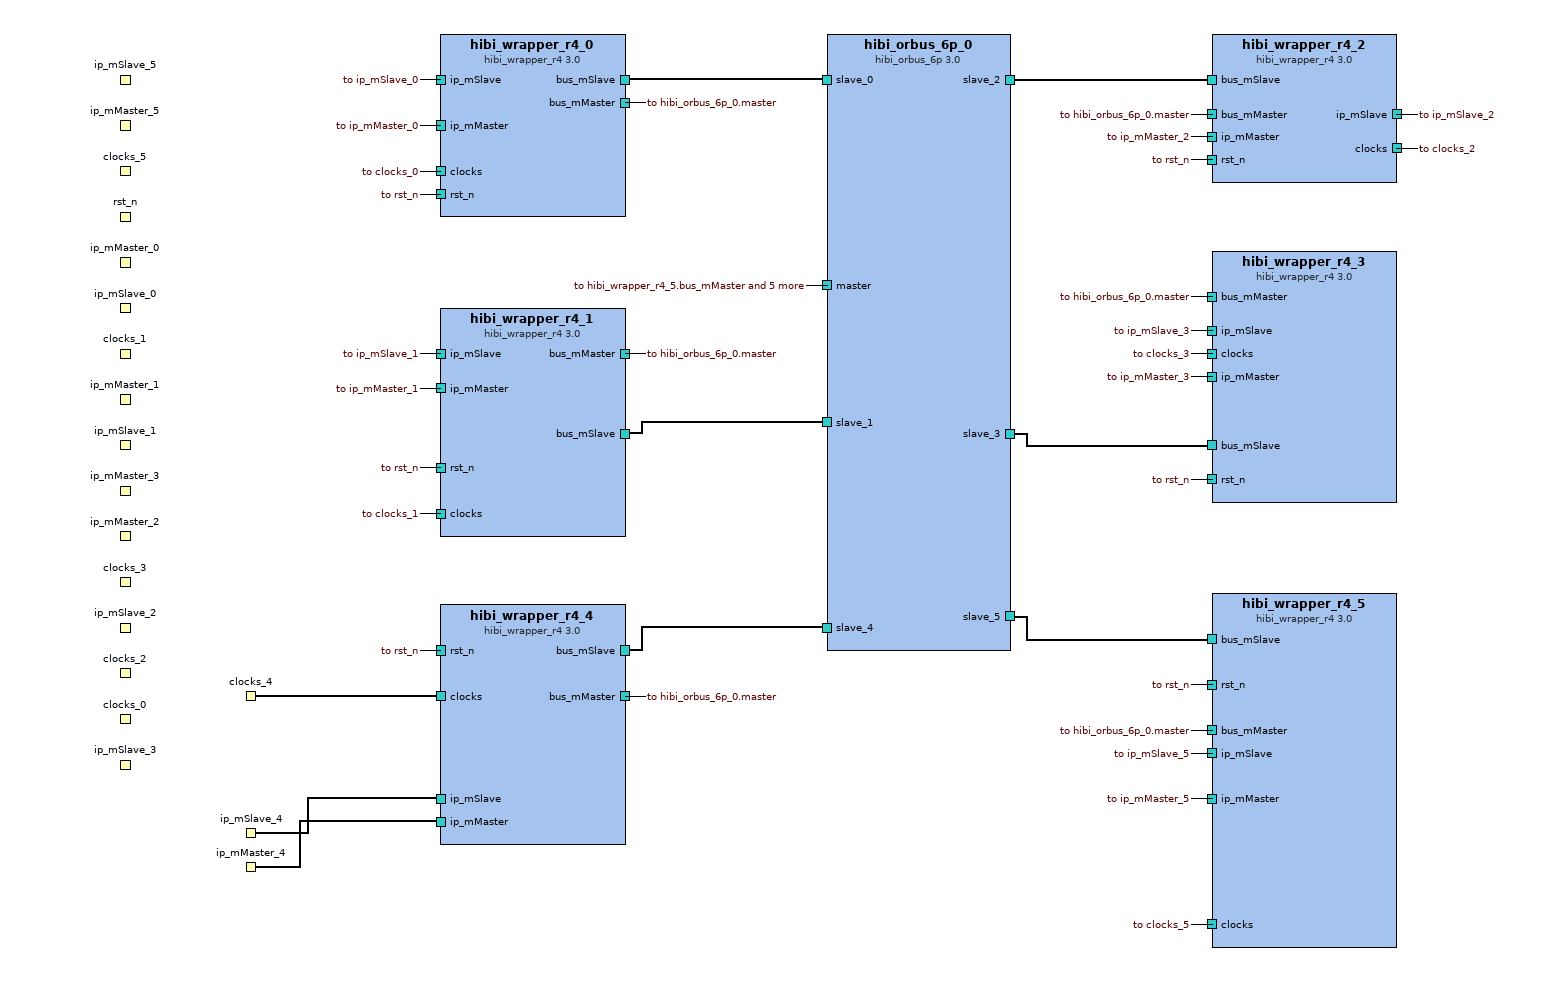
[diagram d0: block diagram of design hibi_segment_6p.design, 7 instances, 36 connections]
<?xml version="1.0" encoding="UTF-8"?>
<!-- Created by Kactus2 - Open source IP-Xact toolset -->
<!-- http://sourceforge.net/projects/kactus2/ -->
<!-- Date: 14.01.2013 -->
<!-- Time: 12:21:23 -->
<spirit:design xmlns:kactus2="http://funbase.cs.tut.fi/" xmlns:spirit="http://www.spiritconsortium.org/XMLSchema/SPIRIT/1.5" xmlns:xsi="http://www.w3.org/2001/XMLSchema-instance" xsi:schemaLocation="http://www.spiritconsortium.org/XMLSchema/SPIRIT/1.5 http://www.spiritconsortium.org/XMLSchema/SPIRIT/1.5/index.xsd"><spirit:vendor>TUT</spirit:vendor><spirit:library>ip.hwp.communication</spirit:library>
 <spirit:name>hibi_segment_6p.design</spirit:name><spirit:version>3.0</spirit:version><spirit:componentInstances>
 <spirit:componentInstance><spirit:instanceName>hibi_wrapper_r4_2</spirit:instanceName>
  <spirit:componentRef spirit:vendor="TUT" spirit:library="ip.hwp.communication" spirit:name="hibi_wrapper_r4" spirit:version="3.0"/>
  <spirit:configurableElementValues><spirit:configurableElementValue spirit:referenceId="addr_g">ip_mSlave_2_addr_start</spirit:configurableElementValue><spirit:configurableElementValue spirit:referenceId="addr_limit_g">ip_mSlave_2_addr_end</spirit:configurableElementValue><spirit:configurableElementValue spirit:referenceId="n_agents_g">6</spirit:configurableElementValue><spirit:configurableElementValue spirit:referenceId="prior_g">3</spirit:configurableElementValue>
  </spirit:configurableElementValues>
 </spirit:componentInstance>
 <spirit:componentInstance><spirit:instanceName>hibi_wrapper_r4_3</spirit:instanceName>
  <spirit:componentRef spirit:vendor="TUT" spirit:library="ip.hwp.communication" spirit:name="hibi_wrapper_r4" spirit:version="3.0"/>
  <spirit:configurableElementValues><spirit:configurableElementValue spirit:referenceId="addr_g">ip_mSlave_3_addr_start</spirit:configurableElementValue><spirit:configurableElementValue spirit:referenceId="addr_limit_g">ip_mSlave_3_addr_end</spirit:configurableElementValue><spirit:configurableElementValue spirit:referenceId="n_agents_g">6</spirit:configurableElementValue><spirit:configurableElementValue spirit:referenceId="prior_g">4</spirit:configurableElementValue>
  </spirit:configurableElementValues>
 </spirit:componentInstance>
 <spirit:componentInstance><spirit:instanceName>hibi_wrapper_r4_5</spirit:instanceName>
  <spirit:componentRef spirit:vendor="TUT" spirit:library="ip.hwp.communication" spirit:name="hibi_wrapper_r4" spirit:version="3.0"/>
  <spirit:configurableElementValues><spirit:configurableElementValue spirit:referenceId="addr_g">ip_mSlave_5_addr_start</spirit:configurableElementValue><spirit:configurableElementValue spirit:referenceId="addr_limit_g">ip_mSlave_5_addr_end</spirit:configurableElementValue><spirit:configurableElementValue spirit:referenceId="n_agents_g">6</spirit:configurableElementValue><spirit:configurableElementValue spirit:referenceId="prior_g">6</spirit:configurableElementValue>
  </spirit:configurableElementValues>
 </spirit:componentInstance>
 <spirit:componentInstance><spirit:instanceName>hibi_orbus_6p_0</spirit:instanceName><spirit:componentRef spirit:vendor="TUT" spirit:library="ip.hwp.communication" spirit:name="hibi_orbus_6p" spirit:version="3.0"/></spirit:componentInstance>
 <spirit:componentInstance><spirit:instanceName>hibi_wrapper_r4_1</spirit:instanceName>
  <spirit:componentRef spirit:vendor="TUT" spirit:library="ip.hwp.communication" spirit:name="hibi_wrapper_r4" spirit:version="3.0"/>
  <spirit:configurableElementValues><spirit:configurableElementValue spirit:referenceId="addr_g">ip_mSlave_1_addr_start</spirit:configurableElementValue><spirit:configurableElementValue spirit:referenceId="addr_limit_g">ip_mSlave_1_addr_end</spirit:configurableElementValue><spirit:configurableElementValue spirit:referenceId="n_agents_g">6</spirit:configurableElementValue><spirit:configurableElementValue spirit:referenceId="prior_g">2</spirit:configurableElementValue>
  </spirit:configurableElementValues>
 </spirit:componentInstance>
 <spirit:componentInstance><spirit:instanceName>hibi_wrapper_r4_0</spirit:instanceName>
  <spirit:componentRef spirit:vendor="TUT" spirit:library="ip.hwp.communication" spirit:name="hibi_wrapper_r4" spirit:version="3.0"/>
  <spirit:configurableElementValues><spirit:configurableElementValue spirit:referenceId="addr_g">ip_mSlave_0_addr_start</spirit:configurableElementValue><spirit:configurableElementValue spirit:referenceId="addr_limit_g">ip_mSlave_0_addr_end</spirit:configurableElementValue><spirit:configurableElementValue spirit:referenceId="n_agents_g">6</spirit:configurableElementValue><spirit:configurableElementValue spirit:referenceId="prior_g">1</spirit:configurableElementValue>
  </spirit:configurableElementValues>
 </spirit:componentInstance>
 <spirit:componentInstance><spirit:instanceName>hibi_wrapper_r4_4</spirit:instanceName>
  <spirit:componentRef spirit:vendor="TUT" spirit:library="ip.hwp.communication" spirit:name="hibi_wrapper_r4" spirit:version="3.0"/>
  <spirit:configurableElementValues><spirit:configurableElementValue spirit:referenceId="addr_g">ip_mSlave_4_addr_start</spirit:configurableElementValue><spirit:configurableElementValue spirit:referenceId="addr_limit_g">ip_mSlave_4_addr_end</spirit:configurableElementValue><spirit:configurableElementValue spirit:referenceId="n_agents_g">6</spirit:configurableElementValue><spirit:configurableElementValue spirit:referenceId="prior_g">5</spirit:configurableElementValue>
  </spirit:configurableElementValues>
 </spirit:componentInstance>
</spirit:componentInstances><spirit:interconnections>
 <spirit:interconnection><spirit:name>hibi_orbus_6p_0_master_to_hibi_wrapper_r4_5_bus_mMaster</spirit:name><spirit:activeInterface spirit:componentRef="hibi_orbus_6p_0" spirit:busRef="master"/><spirit:activeInterface spirit:componentRef="hibi_wrapper_r4_5" spirit:busRef="bus_mMaster"/></spirit:interconnection>
 <spirit:interconnection><spirit:name>hibi_orbus_6p_0_master_to_hibi_wrapper_r4_2_bus_mMaster</spirit:name><spirit:activeInterface spirit:componentRef="hibi_orbus_6p_0" spirit:busRef="master"/><spirit:activeInterface spirit:componentRef="hibi_wrapper_r4_2" spirit:busRef="bus_mMaster"/></spirit:interconnection>
 <spirit:interconnection><spirit:name>hibi_orbus_6p_0_master_to_hibi_wrapper_r4_3_bus_mMaster</spirit:name><spirit:activeInterface spirit:componentRef="hibi_orbus_6p_0" spirit:busRef="master"/><spirit:activeInterface spirit:componentRef="hibi_wrapper_r4_3" spirit:busRef="bus_mMaster"/></spirit:interconnection>
 <spirit:interconnection><spirit:name>hibi_orbus_6p_0_master_to_hibi_wrapper_r4_1_bus_mMaster</spirit:name><spirit:activeInterface spirit:componentRef="hibi_orbus_6p_0" spirit:busRef="master"/><spirit:activeInterface spirit:componentRef="hibi_wrapper_r4_1" spirit:busRef="bus_mMaster"/></spirit:interconnection>
 <spirit:interconnection><spirit:name>hibi_orbus_6p_0_master_to_hibi_wrapper_r4_4_bus_mMaster</spirit:name><spirit:activeInterface spirit:componentRef="hibi_orbus_6p_0" spirit:busRef="master"/><spirit:activeInterface spirit:componentRef="hibi_wrapper_r4_4" spirit:busRef="bus_mMaster"/></spirit:interconnection>
 <spirit:interconnection><spirit:name>hibi_orbus_6p_0_master_to_hibi_wrapper_r4_0_bus_mMaster</spirit:name><spirit:activeInterface spirit:componentRef="hibi_orbus_6p_0" spirit:busRef="master"/><spirit:activeInterface spirit:componentRef="hibi_wrapper_r4_0" spirit:busRef="bus_mMaster"/></spirit:interconnection>
 <spirit:interconnection><spirit:name>hibi_orbus_6p_0_slave_0_to_hibi_wrapper_r4_0_bus_mSlave</spirit:name><spirit:activeInterface spirit:componentRef="hibi_orbus_6p_0" spirit:busRef="slave_0"/><spirit:activeInterface spirit:componentRef="hibi_wrapper_r4_0" spirit:busRef="bus_mSlave"/></spirit:interconnection>
 <spirit:interconnection><spirit:name>hibi_orbus_6p_0_slave_1_to_hibi_wrapper_r4_1_bus_mSlave</spirit:name><spirit:activeInterface spirit:componentRef="hibi_orbus_6p_0" spirit:busRef="slave_1"/><spirit:activeInterface spirit:componentRef="hibi_wrapper_r4_1" spirit:busRef="bus_mSlave"/></spirit:interconnection>
 <spirit:interconnection><spirit:name>hibi_orbus_6p_0_slave_3_to_hibi_wrapper_r4_3_bus_mSlave</spirit:name><spirit:activeInterface spirit:componentRef="hibi_orbus_6p_0" spirit:busRef="slave_3"/><spirit:activeInterface spirit:componentRef="hibi_wrapper_r4_3" spirit:busRef="bus_mSlave"/></spirit:interconnection>
 <spirit:interconnection><spirit:name>hibi_orbus_6p_0_slave_4_to_hibi_wrapper_r4_4_bus_mSlave</spirit:name><spirit:activeInterface spirit:componentRef="hibi_orbus_6p_0" spirit:busRef="slave_4"/><spirit:activeInterface spirit:componentRef="hibi_wrapper_r4_4" spirit:busRef="bus_mSlave"/></spirit:interconnection>
 <spirit:interconnection><spirit:name>hibi_orbus_6p_0_slave_2_to_hibi_wrapper_r4_2_bus_mSlave</spirit:name><spirit:activeInterface spirit:componentRef="hibi_orbus_6p_0" spirit:busRef="slave_2"/><spirit:activeInterface spirit:componentRef="hibi_wrapper_r4_2" spirit:busRef="bus_mSlave"/></spirit:interconnection>
 <spirit:interconnection><spirit:name>hibi_orbus_6p_0_slave_5_to_hibi_wrapper_r4_5_bus_mSlave</spirit:name><spirit:activeInterface spirit:componentRef="hibi_orbus_6p_0" spirit:busRef="slave_5"/><spirit:activeInterface spirit:componentRef="hibi_wrapper_r4_5" spirit:busRef="bus_mSlave"/></spirit:interconnection>
</spirit:interconnections><spirit:hierConnections>
 <spirit:hierConnection spirit:interfaceRef="ip_mSlave_5"><spirit:interface spirit:componentRef="hibi_wrapper_r4_5" spirit:busRef="ip_mSlave"/></spirit:hierConnection>
 <spirit:hierConnection spirit:interfaceRef="ip_mMaster_5"><spirit:interface spirit:componentRef="hibi_wrapper_r4_5" spirit:busRef="ip_mMaster"/></spirit:hierConnection>
 <spirit:hierConnection spirit:interfaceRef="clocks_5"><spirit:interface spirit:componentRef="hibi_wrapper_r4_5" spirit:busRef="clocks"/></spirit:hierConnection>
 <spirit:hierConnection spirit:interfaceRef="clocks_4"><spirit:interface spirit:componentRef="hibi_wrapper_r4_4" spirit:busRef="clocks"/></spirit:hierConnection>
 <spirit:hierConnection spirit:interfaceRef="ip_mMaster_4"><spirit:interface spirit:componentRef="hibi_wrapper_r4_4" spirit:busRef="ip_mMaster"/></spirit:hierConnection>
 <spirit:hierConnection spirit:interfaceRef="ip_mSlave_4"><spirit:interface spirit:componentRef="hibi_wrapper_r4_4" spirit:busRef="ip_mSlave"/></spirit:hierConnection>
 <spirit:hierConnection spirit:interfaceRef="rst_n"><spirit:interface spirit:componentRef="hibi_wrapper_r4_5" spirit:busRef="rst_n"/></spirit:hierConnection>
 <spirit:hierConnection spirit:interfaceRef="rst_n"><spirit:interface spirit:componentRef="hibi_wrapper_r4_4" spirit:busRef="rst_n"/></spirit:hierConnection>
 <spirit:hierConnection spirit:interfaceRef="rst_n"><spirit:interface spirit:componentRef="hibi_wrapper_r4_1" spirit:busRef="rst_n"/></spirit:hierConnection>
 <spirit:hierConnection spirit:interfaceRef="rst_n"><spirit:interface spirit:componentRef="hibi_wrapper_r4_0" spirit:busRef="rst_n"/></spirit:hierConnection>
 <spirit:hierConnection spirit:interfaceRef="ip_mMaster_0"><spirit:interface spirit:componentRef="hibi_wrapper_r4_0" spirit:busRef="ip_mMaster"/></spirit:hierConnection>
 <spirit:hierConnection spirit:interfaceRef="ip_mSlave_0"><spirit:interface spirit:componentRef="hibi_wrapper_r4_0" spirit:busRef="ip_mSlave"/></spirit:hierConnection>
 <spirit:hierConnection spirit:interfaceRef="clocks_1"><spirit:interface spirit:componentRef="hibi_wrapper_r4_1" spirit:busRef="clocks"/></spirit:hierConnection>
 <spirit:hierConnection spirit:interfaceRef="ip_mMaster_1"><spirit:interface spirit:componentRef="hibi_wrapper_r4_1" spirit:busRef="ip_mMaster"/></spirit:hierConnection>
 <spirit:hierConnection spirit:interfaceRef="ip_mSlave_1"><spirit:interface spirit:componentRef="hibi_wrapper_r4_1" spirit:busRef="ip_mSlave"/></spirit:hierConnection>
 <spirit:hierConnection spirit:interfaceRef="rst_n"><spirit:interface spirit:componentRef="hibi_wrapper_r4_2" spirit:busRef="rst_n"/></spirit:hierConnection>
 <spirit:hierConnection spirit:interfaceRef="rst_n"><spirit:interface spirit:componentRef="hibi_wrapper_r4_3" spirit:busRef="rst_n"/></spirit:hierConnection>
 <spirit:hierConnection spirit:interfaceRef="ip_mMaster_3"><spirit:interface spirit:componentRef="hibi_wrapper_r4_3" spirit:busRef="ip_mMaster"/></spirit:hierConnection>
 <spirit:hierConnection spirit:interfaceRef="ip_mMaster_2"><spirit:interface spirit:componentRef="hibi_wrapper_r4_2" spirit:busRef="ip_mMaster"/></spirit:hierConnection>
 <spirit:hierConnection spirit:interfaceRef="clocks_3"><spirit:interface spirit:componentRef="hibi_wrapper_r4_3" spirit:busRef="clocks"/></spirit:hierConnection>
 <spirit:hierConnection spirit:interfaceRef="ip_mSlave_2"><spirit:interface spirit:componentRef="hibi_wrapper_r4_2" spirit:busRef="ip_mSlave"/></spirit:hierConnection>
 <spirit:hierConnection spirit:interfaceRef="clocks_2"><spirit:interface spirit:componentRef="hibi_wrapper_r4_2" spirit:busRef="clocks"/></spirit:hierConnection>
 <spirit:hierConnection spirit:interfaceRef="clocks_0"><spirit:interface spirit:componentRef="hibi_wrapper_r4_0" spirit:busRef="clocks"/></spirit:hierConnection>
 <spirit:hierConnection spirit:interfaceRef="ip_mSlave_3"><spirit:interface spirit:componentRef="hibi_wrapper_r4_3" spirit:busRef="ip_mSlave"/></spirit:hierConnection>
</spirit:hierConnections></spirit:design>

